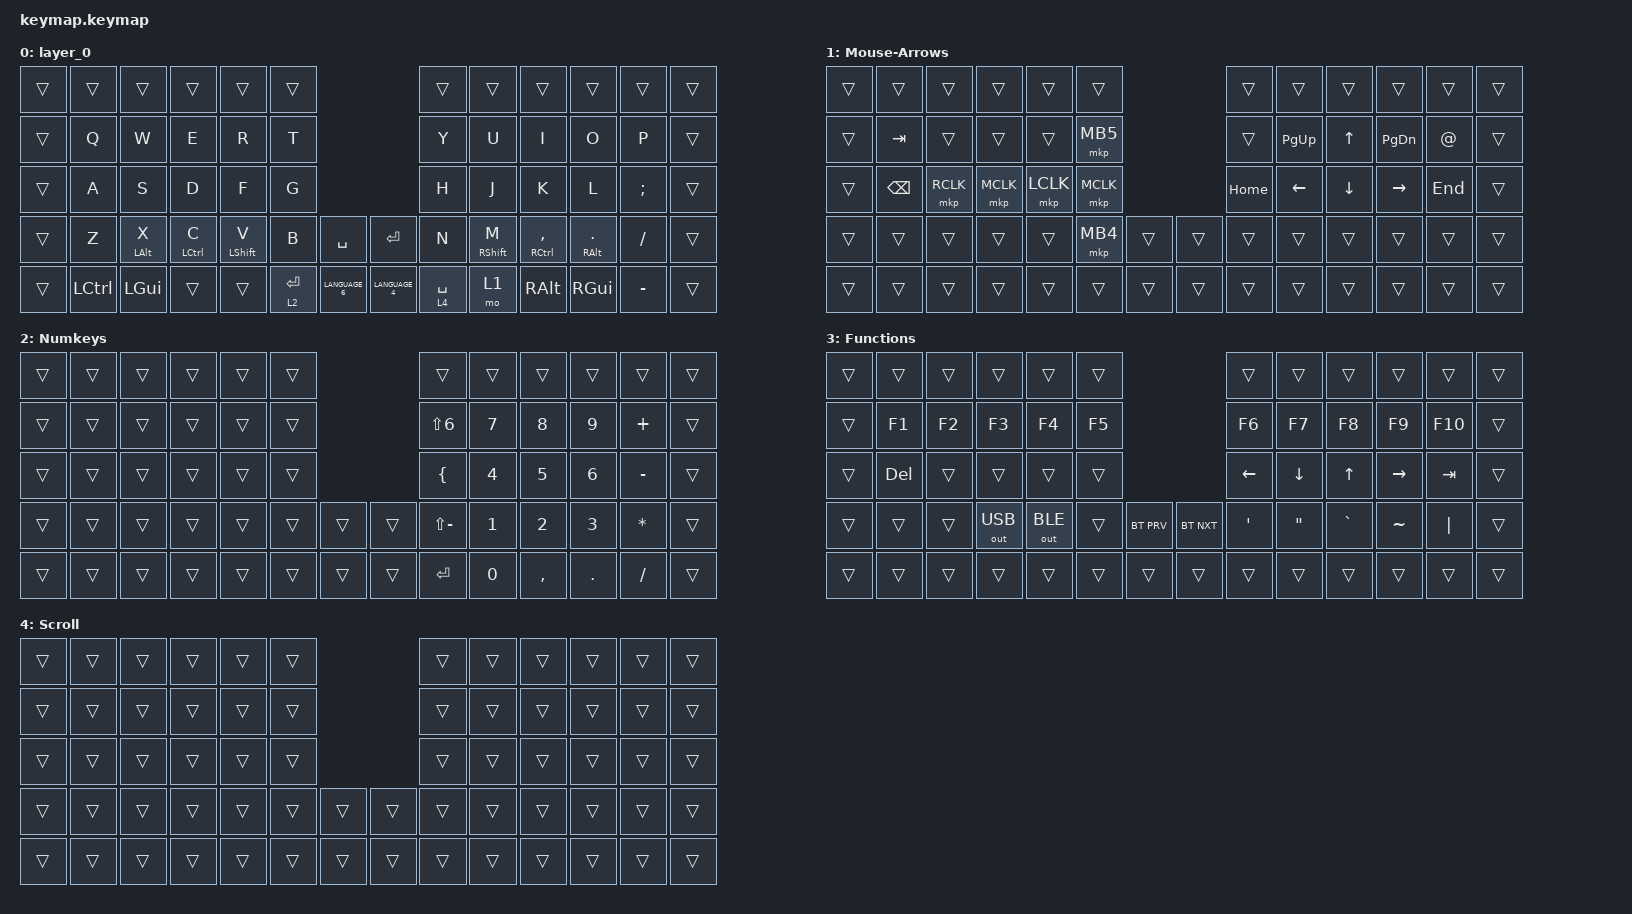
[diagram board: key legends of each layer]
#include <behaviors.dtsi>
#include <dt-bindings/zmk/bt.h>
#include <dt-bindings/zmk/keys.h>
#include <dt-bindings/zmk/outputs.h>
#include <dt-bindings/zmk/pointing.h>

/ {
    combos {
        compatible = "zmk,combos";

        bt_clear {
            bindings = <&bt BT_CLR>;
            key-positions = <28 29>;
            layers = <2>;
        };
    };

    keymap {
        compatible = "zmk,keymap";

        layer_0 {
            bindings = <
&trans  &trans     &trans          &trans              &trans            &trans                                       &trans       &trans             &trans                   &trans             &trans     &trans
&trans  &kp Q      &kp W           &kp E               &kp R             &kp T                                        &kp Y        &kp U              &kp I                    &kp O              &kp P      &trans
&trans  &kp A      &kp S           &kp D               &kp F             &kp G                                        &kp H        &kp J              &kp K                    &kp L              &kp SEMI   &trans
&trans  &kp Z      &mt LEFT_ALT X  &mt LEFT_CONTROL C  &mt LEFT_SHIFT V  &kp B        &kp SPACE       &kp RET         &kp N        &mt RIGHT_SHIFT M  &mt RIGHT_CONTROL COMMA  &mt RIGHT_ALT DOT  &kp FSLH   &trans
&trans  &kp LCTRL  &kp LGUI        &trans              &trans            &lt 2 ENTER  &kp LANGUAGE_6  &kp LANGUAGE_4  &lt 4 SPACE  &mo 1              &kp RALT                 &kp RGUI           &kp MINUS  &trans
            >;
        };

        Mouse-Arrows {
            bindings = <
&trans  &trans         &trans     &trans     &trans     &trans                     &trans    &trans       &trans    &trans         &trans   &trans
&trans  &kp TAB        &trans     &trans     &trans     &mkp MB5                   &trans    &kp PAGE_UP  &kp UP    &kp PAGE_DOWN  &kp AT   &trans
&trans  &kp BACKSPACE  &mkp RCLK  &mkp MCLK  &mkp LCLK  &mkp MCLK                  &kp HOME  &kp LEFT     &kp DOWN  &kp RIGHT      &kp END  &trans
&trans  &trans         &trans     &trans     &trans     &mkp MB4   &trans  &trans  &trans    &trans       &trans    &trans         &trans   &trans
&trans  &trans         &trans     &trans     &trans     &trans     &trans  &trans  &trans    &trans       &trans    &trans         &trans   &trans
            >;
        };

        Numkeys {
            bindings = <
&trans  &trans  &trans  &trans  &trans  &trans                  &trans          &trans        &trans        &trans        &trans        &trans
&trans  &trans  &trans  &trans  &trans  &trans                  &kp LS(N6)      &kp NUMBER_7  &kp NUMBER_8  &kp NUMBER_9  &kp PLUS      &trans
&trans  &trans  &trans  &trans  &trans  &trans                  &kp LEFT_BRACE  &kp NUMBER_4  &kp NUMBER_5  &kp NUMBER_6  &kp MINUS     &trans
&trans  &trans  &trans  &trans  &trans  &trans  &trans  &trans  &kp LS(MINUS)   &kp NUMBER_1  &kp NUMBER_2  &kp NUMBER_3  &kp ASTERISK  &trans
&trans  &trans  &trans  &trans  &trans  &trans  &trans  &trans  &kp ENTER       &kp NUMBER_0  &kp COMMA     &kp PERIOD    &kp SLASH     &trans
            >;
        };

        Functions {
            bindings = <
&trans  &trans      &trans  &trans        &trans        &trans                          &trans            &trans    &trans        &trans     &trans    &trans
&trans  &kp F1      &kp F2  &kp F3        &kp F4        &kp F5                          &kp F6            &kp F7    &kp F8        &kp F9     &kp F10   &trans
&trans  &kp DELETE  &trans  &trans        &trans        &trans                          &kp LEFT          &kp DOWN  &kp UP_ARROW  &kp RIGHT  &kp TAB   &trans
&trans  &trans      &trans  &out OUT_USB  &out OUT_BLE  &trans  &bt BT_PRV  &bt BT_NXT  &kp SINGLE_QUOTE  &kp DQT   &kp GRAVE     &kp TILDE  &kp PIPE  &trans
&trans  &trans      &trans  &trans        &trans        &trans  &trans      &trans      &trans            &trans    &trans        &trans     &trans    &trans
            >;
        };

        Scroll {
            bindings = <
&trans  &trans  &trans  &trans  &trans  &trans                  &trans  &trans  &trans  &trans  &trans  &trans
&trans  &trans  &trans  &trans  &trans  &trans                  &trans  &trans  &trans  &trans  &trans  &trans
&trans  &trans  &trans  &trans  &trans  &trans                  &trans  &trans  &trans  &trans  &trans  &trans
&trans  &trans  &trans  &trans  &trans  &trans  &trans  &trans  &trans  &trans  &trans  &trans  &trans  &trans
&trans  &trans  &trans  &trans  &trans  &trans  &trans  &trans  &trans  &trans  &trans  &trans  &trans  &trans
            >;
        };
    };
};
